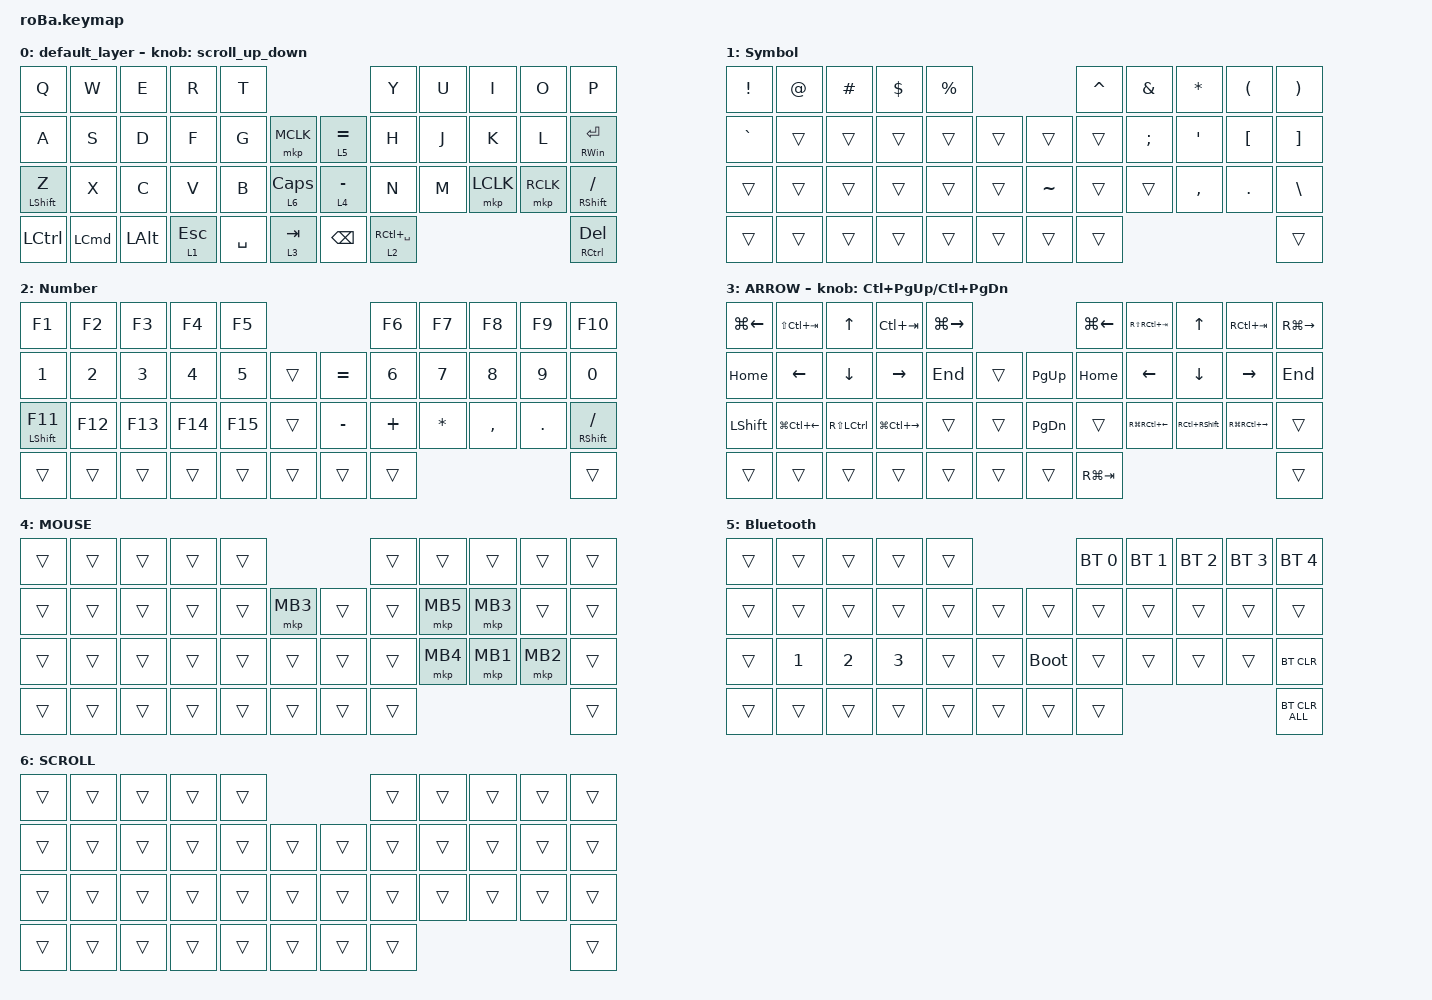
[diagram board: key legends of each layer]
#include <behaviors.dtsi>
#include <dt-bindings/zmk/bt.h>
#include <dt-bindings/zmk/keys.h>
#include <dt-bindings/zmk/pointing.h>
#define ZMK_POINTING_DEFAULT_SCRL_VAL 120 // 100以上じゃないとロータリエンコーダが反応しない
#define MOUSE 4
#define SCROLL 5
#define NUM 6

&mt {
    flavor = "balanced";
    quick-tap-ms = <0>;
};

&trackball {
    // automouse-layer = <4>;
    scroll-layers = <6>;

    // arrows {
    //     layers = <3>;
    //     bindings =
    //         <&kp RIGHT_ARROW>,
    //         <&kp LEFT_ARROW>,
    //         <&kp UP_ARROW>,
    //         <&kp DOWN_ARROW>;
    //     tick = <10>;
    //     wait-ms = <5>;
    //     tap-ms = <5>;
    // };
};

/ {
    combos { compatible = "zmk,combos"; };

    behaviors {
        to_layer_0: to_layer_0 {
            compatible = "zmk,behavior-to";
            label = "TO_LAYER_0";
            #binding-cells = <1>;
        };

        lt_to_layer_0: lt_to_layer_0 {
            compatible = "zmk,behavior-hold-tap";
            label = "LAYER_TAP_TO_0";
            bindings = <&mo>, <&to_layer_0>;

            #binding-cells = <2>;
            tapping-term-ms = <200>;
        };

        scroll_up_down: behavior_sensor_rotate_mouse_wheel_up_down {
            compatible = "zmk,behavior-sensor-rotate";
            #sensor-binding-cells = <0>;
            bindings = <&msc SCRL_DOWN>, <&msc SCRL_UP>;

            tap-ms = <20>;
        };
    };

    keymap {
        compatible = "zmk,keymap";

        default_layer {
            bindings = <
&kp Q             &kp W     &kp E         &kp R         &kp T                                         &kp Y            &kp U  &kp I      &kp O      &kp P
&kp A             &kp S     &kp D         &kp F         &kp G      &mkp MCLK           &lt 5 EQUAL    &kp H            &kp J  &kp K      &kp L      &mt RIGHT_WIN ENTER
&mt LEFT_SHIFT Z  &kp X     &kp C         &kp V         &kp B      &lt 6 CAPSLOCK      &lt 4 MINUS    &kp N            &kp M  &mkp LCLK  &mkp RCLK  &mt RIGHT_SHIFT SLASH
&kp LCTRL         &kp LCMD  &kp LEFT_ALT  &lt 1 ESCAPE  &kp SPACE  &lt 3 TAB           &kp BACKSPACE  &lt 2 RC(SPACE)                               &mt RIGHT_CONTROL DELETE
            >;

            sensor-bindings = <&scroll_up_down>;
        };

        Symbol {
            bindings = <
&kp EXCLAMATION  &kp AT_SIGN  &kp HASH  &kp DOLLAR  &kp PERCENT                         &kp CARET  &kp AMPERSAND  &kp ASTERISK  &kp LEFT_PARENTHESIS  &kp RIGHT_PARENTHESIS
&kp GRAVE        &trans       &trans    &trans      &trans       &trans      &trans     &trans     &kp SEMICOLON  &kp SQT       &kp LEFT_BRACKET      &kp RIGHT_BRACKET
&trans           &trans       &trans    &trans      &trans       &trans      &kp TILDE  &trans     &trans         &kp COMMA     &kp PERIOD            &kp BACKSLASH
&trans           &trans       &trans    &trans      &trans       &trans      &trans     &trans                                                        &trans
            >;
        };

        Number {
            bindings = <
&kp F1              &kp F2        &kp F3        &kp F4        &kp F5                          &kp F6        &kp F7        &kp F8     &kp F9      &kp F10
&kp NUMBER_1        &kp NUMBER_2  &kp NUMBER_3  &kp NUMBER_4  &kp N5   &trans      &kp EQUAL  &kp NUMBER_6  &kp N7        &kp N8     &kp N9      &kp N0
&mt LEFT_SHIFT F11  &kp F12       &kp F13       &kp F14       &kp F15  &trans      &kp MINUS  &kp PLUS      &kp ASTERISK  &kp COMMA  &kp PERIOD  &mt RIGHT_SHIFT SLASH
&trans              &trans        &trans        &trans        &trans   &trans      &trans     &trans                                             &trans
            >;
        };

        ARROW {
            bindings = <
&kp LG(LEFT_ARROW)  &kp LS(LC(TAB))         &kp UP_ARROW          &kp LC(TAB)              &kp LG(RIGHT_ARROW)                             &kp LG(LEFT_ARROW)  &kp RS(RC(TAB))         &kp UP_ARROW         &kp RC(TAB)              &kp RG(RIGHT_ARROW)
&kp HOME            &kp LEFT_ARROW          &kp DOWN_ARROW        &kp RIGHT_ARROW          &kp END              &trans      &kp PAGE_UP    &kp HOME            &kp LEFT_ARROW          &kp DOWN_ARROW       &kp RIGHT_ARROW          &kp END
&kp LSHIFT          &kp LG(LC(LEFT_ARROW))  &kp RS(LEFT_CONTROL)  &kp LG(LC(RIGHT_ARROW))  &trans               &trans      &kp PAGE_DOWN  &trans              &kp RG(RC(LEFT_ARROW))  &kp RC(RIGHT_SHIFT)  &kp RG(RC(RIGHT_ARROW))  &trans
&trans              &trans                  &trans                &trans                   &trans               &trans      &trans         &kp RG(TAB)                                                                               &trans
            >;

            sensor-bindings = <&inc_dec_kp LC(PAGE_UP) LC(PAGE_DOWN)>;
        };

        MOUSE {
            bindings = <
&trans  &trans  &trans  &trans  &trans                        &trans  &trans    &trans    &trans    &trans
&trans  &trans  &trans  &trans  &trans  &mkp MB3      &trans  &trans  &mkp MB5  &mkp MB3  &trans    &trans
&trans  &trans  &trans  &trans  &trans  &trans        &trans  &trans  &mkp MB4  &mkp MB1  &mkp MB2  &trans
&trans  &trans  &trans  &trans  &trans  &trans        &trans  &trans                                &trans
            >;
        };

        Bluetooth {
            bindings = <
&trans  &trans        &trans        &trans        &trans                           &bt BT_SEL 0  &bt BT_SEL 1  &bt BT_SEL 2  &bt BT_SEL 3  &bt BT_SEL 4
&trans  &trans        &trans        &trans        &trans  &trans      &trans       &trans        &trans        &trans        &trans        &trans
&trans  &kp NUMBER_1  &kp NUMBER_2  &kp NUMBER_3  &trans  &trans      &bootloader  &trans        &trans        &trans        &trans        &bt BT_CLR
&trans  &trans        &trans        &trans        &trans  &trans      &trans       &trans                                                  &bt BT_CLR_ALL
            >;
        };

        SCROLL {
            bindings = <
&trans  &trans  &trans  &trans  &trans                      &trans  &trans  &trans  &trans  &trans
&trans  &trans  &trans  &trans  &trans  &trans      &trans  &trans  &trans  &trans  &trans  &trans
&trans  &trans  &trans  &trans  &trans  &trans      &trans  &trans  &trans  &trans  &trans  &trans
&trans  &trans  &trans  &trans  &trans  &trans      &trans  &trans                          &trans
            >;
        };
    };
};
